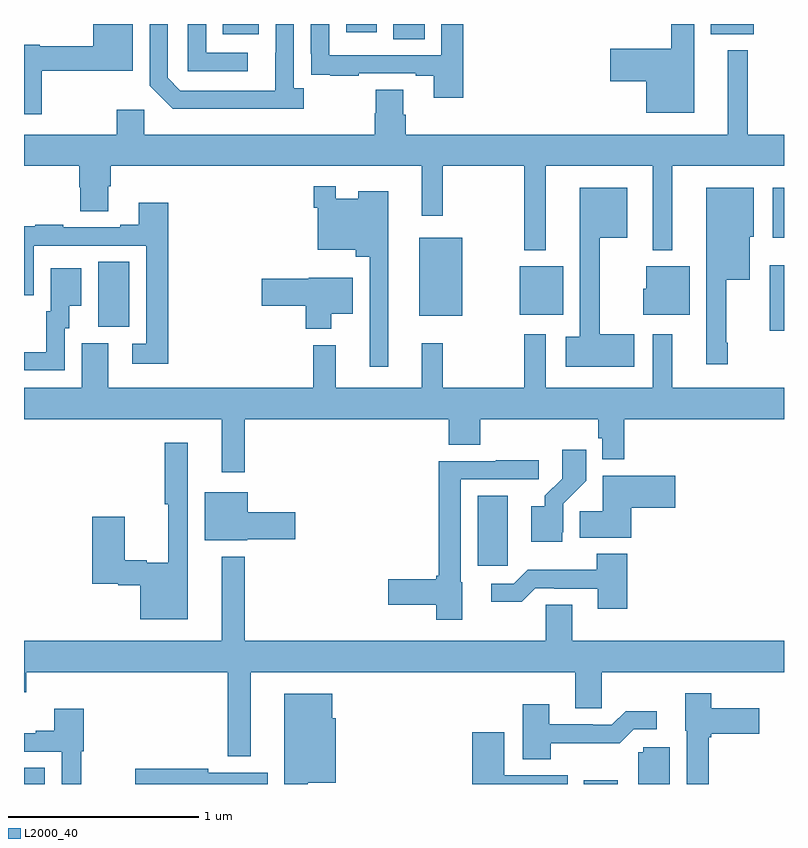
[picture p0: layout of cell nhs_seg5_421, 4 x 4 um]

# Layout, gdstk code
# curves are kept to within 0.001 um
import gdstk
lib = gdstk.Library(unit=1e-6, precision=1e-09)
def R(c, l, rs):  # rectangles x0, y0, x1, y1
    for r in rs: c.add(gdstk.rectangle(r[:2], r[2:], *l))
def P(c, l, *ps):  # polygons
    for p in ps: c.add(gdstk.Polygon(p, *l))
L2000_40 = (2000, 40)

nhs_seg5_421 = lib.new_cell('nhs_seg5_421')
R(nhs_seg5_421, L2000_40, [(137,894.799,137.11,894.884), (139.947,894.799,140.125,894.82), (139.388,895.947,139.546,896.317), (140.924,897.185,141,897.529), (137.39,897.205,137.554,897.548), (139.079,897.263,139.306,897.673), (139.61,897.269,139.837,897.523), (140.942,897.674,141,897.937), (138.944,898.72,139.108,898.799), (138.047,898.745,138.235,898.799), (140.615,898.745,140.842,898.799), (138.695,898.755,138.856,898.799)])
P(nhs_seg5_421, L2000_40, [(140.527,898.799),(140.406,898.799),(140.406,898.67),(140.085,898.67),(140.085,898.499),(140.276,898.499),(140.276,898.331),(140.527,898.331)],
  [(138.472,898.462),(138.42,898.462),(138.42,898.799),(138.324,898.799),(138.323,898.449),(137.823,898.449),(137.757,898.515),(137.757,898.799),(137.661,898.799),(137.661,898.473),(137.782,898.352),(138.472,898.352)],
  [(138.178,898.647),(137.958,898.647),(137.958,898.799),(137.862,898.799),(137.862,898.551),(138.178,898.551)],
  [(139.313,898.799),(139.197,898.799),(139.197,898.635),(138.606,898.635),(138.606,898.799),(138.51,898.799),(138.51,898.642),(138.511,898.642),(138.511,898.533),(138.613,898.533),(138.613,898.527),(138.761,898.527),(138.761,898.539),(139.061,898.539),(139.061,898.527),(139.157,898.527),(139.157,898.41),(139.313,898.41)],
  [(137.094,898.554),(137.572,898.554),(137.572,898.799),(137.365,898.799),(137.365,898.682),(137.082,898.682),(137.082,898.69),(137,898.69),(137,898.323),(137.094,898.323)],
  [(139.747,898.052),(140.309,898.052),(140.309,897.608),(140.413,897.608),(140.413,898.052),(141,898.052),(141,898.216),(140.809,898.216),(140.809,898.66),(140.705,898.66),(140.705,898.216),(139.01,898.216),(139.01,898.322),(138.997,898.322),(138.997,898.454),(138.85,898.454),(138.85,898.329),(138.845,898.329),(138.845,898.216),(137.634,898.216),(137.634,898.348),(137.488,898.348),(137.488,898.216),(137,898.216),(137,898.052),(137.291,898.052),(137.291,897.939),(137.296,897.939),(137.296,897.814),(137.443,897.814),(137.443,897.946),(137.456,897.946),(137.456,898.052),(139.094,898.052),(139.094,897.789),(139.204,897.789),(139.204,898.052),(139.633,898.052),(139.633,897.608),(139.747,897.608)],
  [(138.916,897.919),(138.758,897.919),(138.758,897.88),(138.642,897.88),(138.642,897.946),(138.526,897.946),(138.526,897.833),(138.546,897.833),(138.546,897.611),(138.746,897.611),(138.746,897.575),(138.819,897.575),(138.819,896.994),(138.916,896.994)],
  [(140.705,897.121),(140.695,897.121),(140.695,897.452),(140.821,897.452),(140.821,897.678),(140.842,897.678),(140.842,897.937),(140.591,897.937),(140.591,897.009),(140.705,897.009)],
  [(140.212,897.167),(140.029,897.167),(140.029,897.674),(140.176,897.674),(140.176,897.937),(139.925,897.937),(139.925,897.154),(139.851,897.154),(139.851,896.996),(140.212,896.996)],
  [(137.759,897.859),(137.603,897.859),(137.603,897.742),(137.507,897.742),(137.507,897.729),(137.207,897.729),(137.207,897.742),(137.059,897.742),(137.059,897.735),(137,897.735),(137,897.372),(137.052,897.372),(137.052,897.633),(137.643,897.633),(137.643,897.117),(137.571,897.117),(137.571,897.012),(137.759,897.012)],
  [(140.503,897.523),(140.276,897.523),(140.276,897.405),(140.258,897.405),(140.258,897.269),(140.503,897.269)],
  [(137.214,897.198),(137.239,897.198),(137.239,897.317),(137.302,897.317),(137.302,897.514),(137.141,897.514),(137.141,897.288),(137.117,897.288),(137.117,897.072),(137,897.072),(137,896.976),(137.214,896.976)],
  [(138.616,897.275),(138.73,897.275),(138.73,897.463),(138.498,897.463),(138.498,897.458),(138.252,897.458),(138.252,897.316),(138.482,897.316),(138.482,897.194),(138.616,897.194)],
  [(137.443,897.12),(137.303,897.12),(137.303,896.884),(137,896.884),(137,896.72),(138.041,896.72),(138.041,896.439),(138.163,896.439),(138.163,896.72),(139.235,896.72),(139.235,896.584),(139.4,896.584),(139.4,896.72),(140.023,896.72),(140.023,896.619),(140.043,896.619),(140.043,896.507),(140.159,896.507),(140.159,896.72),(141,896.72),(141,896.884),(140.413,896.884),(140.413,897.166),(140.309,897.166),(140.309,896.884),(139.747,896.884),(139.747,897.166),(139.633,897.166),(139.633,896.884),(139.204,896.884),(139.204,897.118),(139.094,897.118),(139.094,896.884),(138.641,896.884),(138.641,897.109),(138.523,897.109),(138.523,896.884),(137.443,896.884)],
  [(137.863,896.596),(137.742,896.596),(137.742,896.271),(137.759,896.271),(137.759,895.963),(137.645,895.963),(137.645,895.976),(137.53,895.976),(137.53,896.206),(137.36,896.206),(137.36,895.853),(137.496,895.853),(137.496,895.846),(137.612,895.846),(137.612,895.667),(137.863,895.667)],
  [(139.834,896.124),(139.839,896.124),(139.839,896.275),(139.958,896.394),(139.958,896.557),(139.833,896.557),(139.833,896.405),(139.742,896.315),(139.742,896.26),(139.67,896.26),(139.67,896.075),(139.834,896.075)],
  [(139.306,895.86),(139.299,895.86),(139.299,896.403),(139.708,896.403),(139.708,896.502),(139.483,896.502),(139.483,896.499),(139.183,896.499),(139.183,895.895),(139.17,895.895),(139.17,895.877),(138.918,895.877),(138.918,895.742),(139.17,895.742),(139.17,895.664),(139.306,895.664)],
  [(140.195,896.252),(140.428,896.252),(140.428,896.422),(140.045,896.422),(140.045,896.234),(139.924,896.234),(139.924,896.096),(140.195,896.096)],
  [(138.174,896.087),(138.427,896.087),(138.427,896.229),(138.178,896.229),(138.178,896.335),(137.951,896.335),(137.951,896.081),(138.174,896.081)],
  [(140.174,896.011),(140.014,896.011),(140.014,895.927),(139.651,895.927),(139.578,895.854),(139.458,895.854),(139.458,895.757),(139.619,895.757),(139.692,895.83),(139.792,895.83),(139.792,895.827),(140.021,895.827),(140.021,895.722),(140.174,895.722)],
  [(138.193,895.388),(139.901,895.388),(139.901,895.198),(140.04,895.198),(140.04,895.388),(141,895.388),(141,895.552),(139.885,895.552),(139.885,895.742),(139.746,895.742),(139.746,895.552),(138.163,895.552),(138.163,895.996),(138.041,895.996),(138.041,895.552),(137,895.552),(137,895.282),(137.012,895.282),(137.012,895.388),(138.072,895.388),(138.072,894.944),(138.193,894.944)],
  [(140.603,895.046),(140.616,895.046),(140.616,895.064),(140.869,895.064),(140.869,895.198),(140.616,895.198),(140.616,895.276),(140.48,895.276),(140.48,895.08),(140.487,895.08),(140.487,894.799),(140.603,894.799)],
  [(138.493,894.806),(138.64,894.806),(138.64,895.146),(138.622,895.146),(138.622,895.273),(138.371,895.273),(138.371,894.799),(138.493,894.799)],
  [(139.773,895.014),(140.135,895.013),(140.208,895.086),(140.329,895.086),(140.329,895.183),(140.167,895.183),(140.094,895.11),(139.994,895.11),(139.994,895.113),(139.765,895.113),(139.765,895.219),(139.625,895.219),(139.625,894.929),(139.773,894.929)],
  [(137.3,894.972),(137.315,894.972),(137.315,895.195),(137.159,895.195),(137.159,895.078),(137.063,895.078),(137.063,895.065),(137,895.065),(137,894.969),(137.199,894.969),(137.199,894.799),(137.3,894.799)],
  [(139.862,894.844),(139.528,894.844),(139.528,895.072),(139.358,895.072),(139.358,894.799),(139.862,894.799)],
  [(140.398,894.993),(140.259,894.993),(140.259,894.966),(140.234,894.966),(140.234,894.799),(140.398,894.799)],
  [(138.283,894.859),(137.97,894.859),(137.97,894.878),(137.586,894.878),(137.586,894.799),(138.283,894.799)])

lib.write_gds('nhs_seg5_421.gds')
